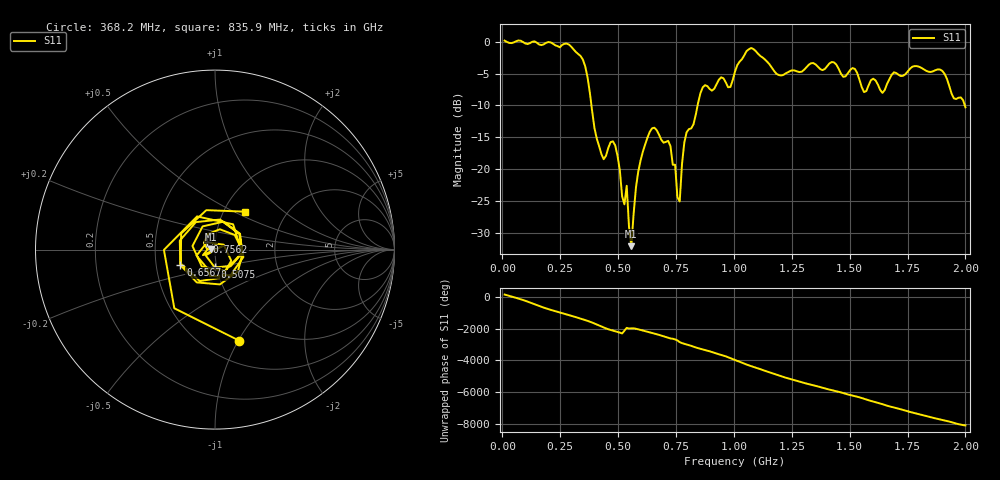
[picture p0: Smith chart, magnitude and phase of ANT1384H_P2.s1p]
!Created with skrf (http://scikit-rf.org).
# Hz S RI R 50.0
!freq ReS11 ImS11
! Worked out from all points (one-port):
!   201 points, 10 MHz to 2 GHz, reference 50 ohm
!   lowest |S11| = -32.1 dB at 557.2 MHz (marker M1), VSWR 1.05, Z = 47.6 + j0.218 ohm
!   |S11| at or under -10 dB: 385 MHz to 843.5 MHz (458.5 MHz wide, 74.7 % of centre); 1.99745 GHz to end of sweep
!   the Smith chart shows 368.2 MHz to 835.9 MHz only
!   S11 on the Smith chart (normalised r, x): 368.2 MHz: 0.72, -1.01; 507.5 MHz: 0.98, -0.19; 656.8 MHz: 0.67, -0.12; 756.2 MHz: 0.91, +0.08; 835.9 MHz: 1.25, +0.57
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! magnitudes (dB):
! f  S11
! 10 MHz  0.2
! 258.8 MHz  -0.5
! 338.4 MHz  -2.3
! 368.2 MHz  -5.6
! 427.9 MHz  -17.6
! 477.6 MHz  -15.6
! 507.5 MHz  -20.2
! 527.4 MHz  -25.5
! 537.4 MHz  -22.6
! 557.2 MHz  -32.1
! 587.1 MHz  -20.4
! 656.8 MHz  -13.5
! 726.4 MHz  -16.4
! 746.3 MHz  -19.3
! 756.2 MHz  -24.4
! 766.2 MHz  -25.1
! 786.1 MHz  -15.8
! 835.9 MHz  -11.4
! 865.7 MHz  -7.2
! 985.1 MHz  -7.1
! 1.005 GHz  -4.7
! 1.075 GHz  -1.0
! 1.254 GHz  -4.5
! 1.502 GHz  -4.4
! 1.642 GHz  -8.0
! 1.751 GHz  -4.7
! 1.891 GHz  -4.4
! 2 GHz  -10.3
